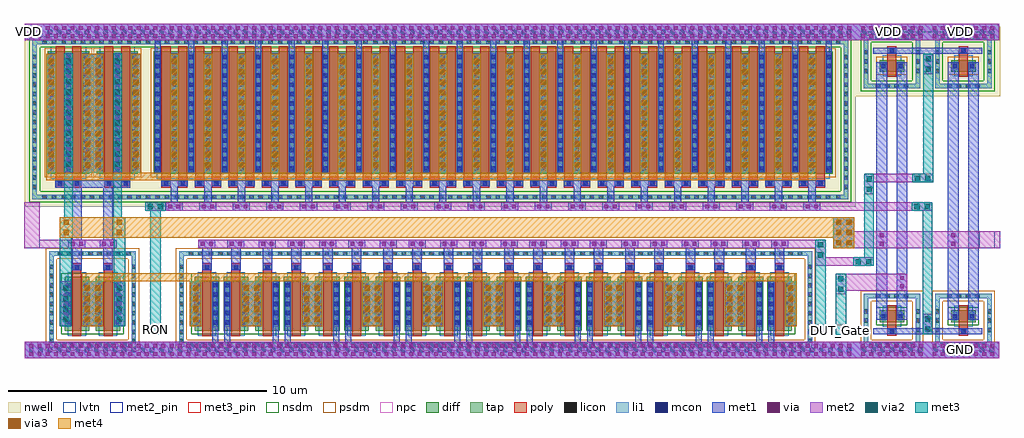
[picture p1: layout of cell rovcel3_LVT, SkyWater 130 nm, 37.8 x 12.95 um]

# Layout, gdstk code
from math import pi, radians
import gdstk
lib = gdstk.Library(unit=1e-6, precision=1e-09)
def R(c, l, rs):  # rectangles x0, y0, x1, y1
    for r in rs: c.add(gdstk.rectangle(r[:2], r[2:], *l))
def A(c, l, x, y, w, h, nx, ny, dx, dy):  # array of equal rectangles
    R(c, l, [(x+i*dx, y+j*dy, x+i*dx+w, y+j*dy+h) for i in range(nx) for j in range(ny)])
def P(c, l, *ps):  # polygons
    for p in ps: c.add(gdstk.Polygon(p, *l))
nwell = (64, 20)
diff = (65, 20)
tap = (65, 44)
poly = (66, 20)
licon = (66, 44)
li1 = (67, 20)
mcon = (67, 44)
met1 = (68, 20)
via = (68, 44)
met2_pin = (69, 16)
met2 = (69, 20)
via2 = (69, 44)
met3_pin = (70, 16)
met3 = (70, 20)
via3 = (70, 44)
met4 = (71, 20)
nsdm = (93, 44)
psdm = (94, 20)
npc = (95, 20)
lvtn = (125, 44)

vias_gen_38 = lib.new_cell('vias_gen$38')
R(vias_gen_38, li1, [(0,0,32.205,0.64)])
A(vias_gen_38, mcon, 0.175, 0.235, 0.17, 0.17, 89, 1, 0.36, 0)
R(vias_gen_38, met1, [(0,0,32.205,0.64)])
A(vias_gen_38, via, 0.185, 0.085, 0.15, 0.15, 100, 2, 0.32, 0.32)
R(vias_gen_38, met2, [(0,0,32.205,0.64)])

pfet_4_1 = lib.new_cell('pfet$4$1')
R(pfet_4_1, nwell, [(-0.305,-0.72,1.255,5.13)])
R(pfet_4_1, diff, [(0,0,0.95,4.75)])
R(pfet_4_1, poly, [(0.3,-0.53,0.65,-0.2), (0.3,-0.2,0.65,4.95)])
A(pfet_4_1, licon, 0.065, 0.13, 0.17, 0.17, 1, 13, 0, 0.36)
A(pfet_4_1, licon, 0.715, 0.13, 0.17, 0.17, 1, 13, 0, 0.36)
R(pfet_4_1, licon, [(0.39,-0.45,0.56,-0.28)])
R(pfet_4_1, li1, [(0.31,-0.45,0.64,-0.28), (0.065,0.05,0.235,4.7), (0.715,0.05,0.885,4.7)])
A(pfet_4_1, mcon, 0.065, 0.13, 0.17, 0.17, 1, 13, 0, 0.36)
A(pfet_4_1, mcon, 0.715, 0.13, 0.17, 0.17, 1, 13, 0, 0.36)
R(pfet_4_1, mcon, [(0.39,-0.45,0.56,-0.28)])
R(pfet_4_1, met1, [(0.29,-0.48,0.66,-0.25), (0.035,0.07,0.265,4.68), (0.685,0.07,0.915,4.68)])
R(pfet_4_1, psdm, [(-0.125,-0.125,1.075,4.875)])
R(pfet_4_1, npc, [(0.29,-0.54,0.66,-0.19)])
R(pfet_4_1, lvtn, [(0.12,-0.18,0.83,4.93)])

vias_gen_32 = lib.new_cell('vias_gen$32')
R(vias_gen_32, met1, [(0,0,0.66,0.42)])
R(vias_gen_32, via, [(0.095,0.135,0.245,0.285), (0.415,0.135,0.565,0.285)])
R(vias_gen_32, met2, [(0,0,0.66,0.42)])

vias_gen_41 = lib.new_cell('vias_gen$41')
R(vias_gen_41, met2, [(0,0,0.8,1.2)])
A(vias_gen_41, via2, 0.1, 0.1, 0.2, 0.2, 1, 3, 0, 0.4)
A(vias_gen_41, via2, 0.5, 0.1, 0.2, 0.2, 1, 3, 0, 0.4)
R(vias_gen_41, met3, [(0,0,0.8,1.2)])
A(vias_gen_41, via3, 0.1, 0.1, 0.2, 0.2, 1, 3, 0, 0.4)
A(vias_gen_41, via3, 0.5, 0.1, 0.2, 0.2, 1, 3, 0, 0.4)
R(vias_gen_41, met4, [(0,0,0.8,1.2)])

vias_gen_28_1 = lib.new_cell('vias_gen$28$1')
R(vias_gen_28_1, met1, [(0,0,1.73,0.8)])
A(vias_gen_28_1, via, 0.15, 0.165, 0.15, 0.15, 5, 2, 0.32, 0.32)
R(vias_gen_28_1, met2, [(0,0,1.73,0.8)])
A(vias_gen_28_1, via2, 0.165, 0.1, 0.2, 0.2, 4, 2, 0.4, 0.4)
R(vias_gen_28_1, met3, [(0,0,1.73,0.8)])
A(vias_gen_28_1, via3, 0.165, 0.1, 0.2, 0.2, 4, 2, 0.4, 0.4)
R(vias_gen_28_1, met4, [(0,0,1.73,0.8)])

nfet_5 = lib.new_cell('nfet$5')
R(nfet_5, diff, [(0,0,0.95,2.1)])
R(nfet_5, poly, [(0.3,-0.2,0.65,2.3), (0.3,2.3,0.65,2.63)])
A(nfet_5, licon, 0.065, 0.245, 0.17, 0.17, 1, 5, 0, 0.36)
A(nfet_5, licon, 0.715, 0.245, 0.17, 0.17, 1, 5, 0, 0.36)
R(nfet_5, licon, [(0.39,2.38,0.56,2.55)])
R(nfet_5, li1, [(0.065,0.165,0.235,1.935), (0.715,0.165,0.885,1.935), (0.31,2.38,0.64,2.55)])
A(nfet_5, mcon, 0.065, 0.245, 0.17, 0.17, 1, 5, 0, 0.36)
A(nfet_5, mcon, 0.715, 0.245, 0.17, 0.17, 1, 5, 0, 0.36)
R(nfet_5, mcon, [(0.39,2.38,0.56,2.55)])
R(nfet_5, met1, [(0.035,0.185,0.265,1.915), (0.685,0.185,0.915,1.915), (0.29,2.35,0.66,2.58)])
R(nfet_5, nsdm, [(-0.125,-0.125,1.075,2.225)])
R(nfet_5, npc, [(0.29,2.29,0.66,2.64)])
R(nfet_5, lvtn, [(0.12,-0.18,0.83,2.28)])

vias_gen_22_1 = lib.new_cell('vias_gen$22$1')
R(vias_gen_22_1, met1, [(0,0,4.61,0.33)])
A(vias_gen_22_1, via, 0.15, 0.09, 0.15, 0.15, 14, 1, 0.32, 0)
R(vias_gen_22_1, met2, [(0,0,4.61,0.33)])
A(vias_gen_22_1, via2, 0.205, 0.065, 0.2, 0.2, 11, 1, 0.4, 0)
R(vias_gen_22_1, met3, [(0,0,4.61,0.33)])
A(vias_gen_22_1, via3, 0.205, 0.065, 0.2, 0.2, 11, 1, 0.4, 0)
R(vias_gen_22_1, met4, [(0,0,4.61,0.33)])

vias_gen_33_1 = lib.new_cell('vias_gen$33$1')
R(vias_gen_33_1, met1, [(0,0,0.66,0.33)])
R(vias_gen_33_1, via, [(0.095,0.09,0.245,0.24), (0.415,0.09,0.565,0.24)])
R(vias_gen_33_1, met2, [(0,0,0.66,0.33)])

vias_gen_39 = lib.new_cell('vias_gen$39')
R(vias_gen_39, met1, [(0,0,0.37,0.8)])
R(vias_gen_39, via, [(0.11,0.165,0.26,0.315), (0.11,0.485,0.26,0.635)])
R(vias_gen_39, met2, [(0,0,0.37,0.8)])
R(vias_gen_39, via2, [(0.085,0.1,0.285,0.3), (0.085,0.5,0.285,0.7)])
R(vias_gen_39, met3, [(0,0,0.37,0.8)])

vias_gen_36_1 = lib.new_cell('vias_gen$36$1')
R(vias_gen_36_1, met2, [(0,0,0.8,0.33)])
R(vias_gen_36_1, via2, [(0.1,0.065,0.3,0.265), (0.5,0.065,0.7,0.265)])
R(vias_gen_36_1, met3, [(0,0,0.8,0.33)])

vias_gen_40 = lib.new_cell('vias_gen$40')
R(vias_gen_40, met2, [(0,0,0.37,0.8)])
R(vias_gen_40, via2, [(0.085,0.1,0.285,0.3), (0.085,0.5,0.285,0.7)])
R(vias_gen_40, met3, [(0,0,0.37,0.8)])

vias_gen_24 = lib.new_cell('vias_gen$24')
R(vias_gen_24, met1, [(0,0,0.38,4.61)])
A(vias_gen_24, via, 0.115, 0.15, 0.15, 0.15, 1, 14, 0, 0.32)
R(vias_gen_24, met2, [(0,0,0.38,4.61)])
A(vias_gen_24, via2, 0.09, 0.205, 0.2, 0.2, 1, 11, 0, 0.4)
R(vias_gen_24, met3, [(0,0,0.38,4.61)])
A(vias_gen_24, via3, 0.09, 0.205, 0.2, 0.2, 1, 11, 0, 0.4)
R(vias_gen_24, met4, [(0,0,0.38,4.61)])

vias_gen_34_1 = lib.new_cell('vias_gen$34$1')
R(vias_gen_34_1, met3, [(0,0,0.5,0.8)])
R(vias_gen_34_1, via3, [(0.15,0.1,0.35,0.3), (0.15,0.5,0.35,0.7)])
R(vias_gen_34_1, met4, [(0,0,0.5,0.8)])

vias_gen_23 = lib.new_cell('vias_gen$23')

vias_gen_16_1 = lib.new_cell('vias_gen$16$1')
R(vias_gen_16_1, met1, [(0,0,4.61,0.33)])
A(vias_gen_16_1, via, 0.15, 0.09, 0.15, 0.15, 14, 1, 0.32, 0)
R(vias_gen_16_1, met2, [(0,0,4.61,0.33)])
A(vias_gen_16_1, via2, 0.205, 0.065, 0.2, 0.2, 11, 1, 0.4, 0)
R(vias_gen_16_1, met3, [(0,0,4.61,0.33)])

vias_gen_31_1 = lib.new_cell('vias_gen$31$1')
R(vias_gen_31_1, met3, [(0,0,0.47,0.8)])
R(vias_gen_31_1, via3, [(0.135,0.1,0.335,0.3), (0.135,0.5,0.335,0.7)])
R(vias_gen_31_1, met4, [(0,0,0.47,0.8)])

vias_gen_23_1 = lib.new_cell('vias_gen$23$1')
R(vias_gen_23_1, met1, [(0,0,0.82,4.61)])
A(vias_gen_23_1, via, 0.175, 0.15, 0.15, 0.15, 1, 14, 0, 0.32)
A(vias_gen_23_1, via, 0.495, 0.15, 0.15, 0.15, 1, 14, 0, 0.32)
R(vias_gen_23_1, met2, [(0,0,0.82,4.61)])
A(vias_gen_23_1, via2, 0.11, 0.205, 0.2, 0.2, 1, 11, 0, 0.4)
A(vias_gen_23_1, via2, 0.51, 0.205, 0.2, 0.2, 1, 11, 0, 0.4)
R(vias_gen_23_1, met3, [(0,0,0.82,4.61)])
A(vias_gen_23_1, via3, 0.11, 0.205, 0.2, 0.2, 1, 11, 0, 0.4)
A(vias_gen_23_1, via3, 0.51, 0.205, 0.2, 0.2, 1, 11, 0, 0.4)
R(vias_gen_23_1, met4, [(0,0,0.82,4.61)])

vias_gen_7_1 = lib.new_cell('vias_gen$7$1')

vias_gen_6_1 = lib.new_cell('vias_gen$6$1')

pfet_2_1 = lib.new_cell('pfet$2$1')

vias_gen_2_1 = lib.new_cell('vias_gen$2$1')

vias_gen_10_1 = lib.new_cell('vias_gen$10$1')

vias_gen_12_1 = lib.new_cell('vias_gen$12$1')
R(vias_gen_12_1, met1, [(0,0,1.73,0.45)])
A(vias_gen_12_1, via, 0.15, 0.15, 0.15, 0.15, 5, 1, 0.32, 0)
R(vias_gen_12_1, met2, [(0,0,1.73,0.45)])
A(vias_gen_12_1, via2, 0.165, 0.125, 0.2, 0.2, 4, 1, 0.4, 0)
R(vias_gen_12_1, met3, [(0,0,1.73,0.45)])

vias_gen_30_1 = lib.new_cell('vias_gen$30$1')
R(vias_gen_30_1, met1, [(0,0,0.82,1.73)])
A(vias_gen_30_1, via, 0.175, 0.15, 0.15, 0.15, 1, 5, 0, 0.32)
A(vias_gen_30_1, via, 0.495, 0.15, 0.15, 0.15, 1, 5, 0, 0.32)
R(vias_gen_30_1, met2, [(0,0,0.82,1.73)])
A(vias_gen_30_1, via2, 0.11, 0.165, 0.2, 0.2, 1, 4, 0, 0.4)
A(vias_gen_30_1, via2, 0.51, 0.165, 0.2, 0.2, 1, 4, 0, 0.4)
R(vias_gen_30_1, met3, [(0,0,0.82,1.73)])
A(vias_gen_30_1, via3, 0.11, 0.165, 0.2, 0.2, 1, 4, 0, 0.4)
A(vias_gen_30_1, via3, 0.51, 0.165, 0.2, 0.2, 1, 4, 0, 0.4)
R(vias_gen_30_1, met4, [(0,0,0.82,1.73)])

vias_gen_27_1 = lib.new_cell('vias_gen$27$1')
R(vias_gen_27_1, met1, [(0,0,1.73,0.45)])
A(vias_gen_27_1, via, 0.15, 0.15, 0.15, 0.15, 5, 1, 0.32, 0)
R(vias_gen_27_1, met2, [(0,0,1.73,0.45)])
A(vias_gen_27_1, via2, 0.165, 0.125, 0.2, 0.2, 4, 1, 0.4, 0)
R(vias_gen_27_1, met3, [(0,0,1.73,0.45)])
A(vias_gen_27_1, via3, 0.165, 0.125, 0.2, 0.2, 4, 1, 0.4, 0)
R(vias_gen_27_1, met4, [(0,0,1.73,0.45)])

nfet_2_1 = lib.new_cell('nfet$2$1')

vias_gen_37_1 = lib.new_cell('vias_gen$37$1')
R(vias_gen_37_1, met2, [(0,0,0.4,0.8)])
R(vias_gen_37_1, via2, [(0.1,0.1,0.3,0.3), (0.1,0.5,0.3,0.7)])
R(vias_gen_37_1, met3, [(0,0,0.4,0.8)])

rovcel3_lvt = lib.new_cell('rovcel3_LVT')
R(rovcel3_lvt, nwell, [(-23.85,4.965,8.355,11.745), (8.355,9.255,11.145,11.935), (11.145,9.255,13.935,11.935)])
R(rovcel3_lvt, diff, [(9.275,0.505,10.225,0.955), (12.045,0.505,12.995,0.955), (9.275,10.2,10.225,10.65), (12.045,10.2,12.995,10.65)])
R(rovcel3_lvt, tap, [(-22.895,-0.475,-22.725,3.245), (-22.725,-0.475,-19.705,-0.305), (-19.705,-0.475,-19.535,3.245), (-17.86,-0.475,-17.69,3.245), (-17.69,-0.475,6.49,-0.305), (6.49,-0.475,6.66,3.245), (-22.725,3.075,-19.705,3.245), (-17.69,3.075,6.49,3.245), (-23.545,5.27,8.055,5.44), (-23.375,5.27,-19.495,5.44), (7.885,5.27,8.055,11.27), (-23.545,5.275,-23.375,11.275), (-23.545,11.27,8.055,11.44)])
P(rovcel3_lvt, tap, [(8.66,9.56),(8.66,11.46),(8.83,11.46),(8.83,9.73),(10.67,9.73),(10.67,11.46),(8.66,11.46),(8.66,11.63),(10.84,11.63),(10.84,9.56)],
  [(11.43,9.56),(11.43,11.46),(11.6,11.46),(11.6,9.73),(13.44,9.73),(13.44,11.46),(11.43,11.46),(11.43,11.63),(13.61,11.63),(13.61,9.56)],
  [(8.66,-0.475),(8.66,1.425),(8.83,1.425),(8.83,-0.305),(10.67,-0.305),(10.67,1.425),(8.66,1.425),(8.66,1.595),(10.84,1.595),(10.84,-0.475)],
  [(11.43,-0.475),(11.43,1.425),(11.6,1.425),(11.6,-0.305),(13.44,-0.305),(13.44,1.425),(11.43,1.425),(11.43,1.595),(13.61,1.595),(13.61,-0.475)])
R(rovcel3_lvt, poly, [(9.575,-0.025,9.925,0.305), (12.345,-0.025,12.695,0.305), (9.575,0.305,9.925,1.155), (12.345,0.305,12.695,1.155), (9.575,10,9.925,10.85), (12.345,10,12.695,10.85), (9.575,10.85,9.925,11.18), (12.345,10.85,12.695,11.18)])
A(rovcel3_lvt, licon, -22.465, -0.475, 0.17, 0.17, 5, 1, 0.36, 0)
A(rovcel3_lvt, licon, -16.71, -0.475, 0.17, 0.17, 3, 2, 0.36, 3.55)
A(rovcel3_lvt, licon, -14.03, -0.475, 0.17, 0.17, 8, 2, 0.36, 3.55)
A(rovcel3_lvt, licon, -10.725, -0.475, 0.17, 0.17, 3, 2, 0.38, 3.55)
A(rovcel3_lvt, licon, -9.605, -0.475, 0.17, 0.17, 9, 2, 0.36, 3.55)
A(rovcel3_lvt, licon, -5.965, -0.475, 0.17, 0.17, 8, 2, 0.36, 3.55)
A(rovcel3_lvt, licon, -3.045, -0.475, 0.17, 0.17, 6, 2, 0.36, 3.55)
A(rovcel3_lvt, licon, -0.46, -0.475, 0.17, 0.17, 3, 2, 0.38, 3.55)
A(rovcel3_lvt, licon, 0.66, -0.475, 0.17, 0.17, 9, 2, 0.36, 3.55)
A(rovcel3_lvt, licon, 4.3, -0.475, 0.17, 0.17, 6, 2, 0.36, 3.55)
A(rovcel3_lvt, licon, 9.125, -0.475, 0.17, 0.17, 4, 2, 0.36, 1.9)
A(rovcel3_lvt, licon, 11.895, -0.475, 0.17, 0.17, 4, 2, 0.36, 1.9)
A(rovcel3_lvt, licon, -22.895, 0.04, 0.17, 0.17, 1, 8, 0, 0.36)
A(rovcel3_lvt, licon, -19.705, 0.04, 0.17, 0.17, 1, 8, 0, 0.36)
A(rovcel3_lvt, licon, -17.86, 0.04, 0.17, 0.17, 1, 8, 0, 0.36)
A(rovcel3_lvt, licon, 6.49, 0.04, 0.17, 0.17, 1, 8, 0, 0.36)
A(rovcel3_lvt, licon, 8.66, 0.115, 0.17, 0.17, 1, 3, 0, 0.36)
A(rovcel3_lvt, licon, 10.67, 0.115, 0.17, 0.17, 1, 3, 0, 0.36)
A(rovcel3_lvt, licon, 11.43, 0.115, 0.17, 0.17, 1, 3, 0, 0.36)
A(rovcel3_lvt, licon, 13.44, 0.115, 0.17, 0.17, 1, 3, 0, 0.36)
A(rovcel3_lvt, licon, -21.745, 3.075, 0.17, 0.17, 3, 1, 0.36, 0)
A(rovcel3_lvt, licon, -21.675, 5.27, 0.17, 0.17, 7, 2, 0.36, 6)
A(rovcel3_lvt, licon, -18.79, 5.27, 0.17, 0.17, 3, 2, 0.38, 6)
A(rovcel3_lvt, licon, -17.67, 5.27, 0.17, 0.17, 9, 2, 0.36, 6)
A(rovcel3_lvt, licon, -14.03, 5.27, 0.17, 0.17, 8, 2, 0.36, 6)
A(rovcel3_lvt, licon, -10.725, 5.27, 0.17, 0.17, 3, 2, 0.38, 6)
A(rovcel3_lvt, licon, -9.605, 5.27, 0.17, 0.17, 9, 2, 0.36, 6)
A(rovcel3_lvt, licon, -5.965, 5.27, 0.17, 0.17, 8, 2, 0.36, 6)
A(rovcel3_lvt, licon, -3.045, 5.27, 0.17, 0.17, 6, 2, 0.36, 6)
A(rovcel3_lvt, licon, -0.46, 5.27, 0.17, 0.17, 3, 2, 0.38, 6)
A(rovcel3_lvt, licon, 0.66, 5.27, 0.17, 0.17, 9, 2, 0.36, 6)
A(rovcel3_lvt, licon, 4.3, 5.27, 0.17, 0.17, 8, 2, 0.36, 6)
A(rovcel3_lvt, licon, 7.885, 5.65, 0.17, 0.17, 1, 15, 0, 0.36)
A(rovcel3_lvt, licon, -23.545, 5.655, 0.17, 0.17, 1, 15, 0, 0.36)
A(rovcel3_lvt, licon, 9.125, 9.56, 0.17, 0.17, 4, 2, 0.36, 1.9)
A(rovcel3_lvt, licon, 11.895, 9.56, 0.17, 0.17, 4, 2, 0.36, 1.9)
A(rovcel3_lvt, licon, 8.66, 10.15, 0.17, 0.17, 1, 3, 0, 0.36)
A(rovcel3_lvt, licon, 10.67, 10.15, 0.17, 0.17, 1, 3, 0, 0.36)
A(rovcel3_lvt, licon, 11.43, 10.15, 0.17, 0.17, 1, 3, 0, 0.36)
A(rovcel3_lvt, licon, 13.44, 10.15, 0.17, 0.17, 1, 3, 0, 0.36)
A(rovcel3_lvt, licon, -22.795, 11.27, 0.17, 0.17, 3, 1, 0.38, 0)
R(rovcel3_lvt, licon, [(-20.665,-0.48,-20.495,-0.31), (-15.63,-0.48,-15.46,-0.31), (-20.055,-0.475,-19.885,-0.305), (-17.42,-0.475,-17.25,-0.305), (-17.06,-0.475,-16.89,-0.305), (-15.28,-0.475,-15.11,-0.305), (-14.935,-0.475,-14.765,-0.305), (-14.41,-0.475,-14.24,-0.305), (-11.085,-0.475,-10.915,-0.305), (-6.345,-0.475,-6.175,-0.305), (-0.82,-0.475,-0.65,-0.305), (3.92,-0.475,4.09,-0.305), (-22.895,-0.305,-22.725,-0.135), (-19.705,-0.305,-19.535,-0.135), (-17.86,-0.305,-17.69,-0.135), (6.49,-0.305,6.66,-0.135), (9.665,0.055,9.835,0.225), (12.435,0.055,12.605,0.225), (9.34,0.645,9.51,0.815), (9.99,0.645,10.16,0.815), (12.11,0.645,12.28,0.815), (12.76,0.645,12.93,0.815), (-20.665,3.07,-20.495,3.24), (-15.63,3.07,-15.46,3.24), (-22.56,3.075,-22.39,3.245), (-22.2,3.075,-22.03,3.245), (-20.315,3.075,-20.145,3.245), (-19.905,3.075,-19.735,3.245), (-17.48,3.075,-17.31,3.245), (-17.12,3.075,-16.95,3.245), (-15.28,3.075,-15.11,3.245), (-14.875,3.075,-14.705,3.245), (-14.41,3.075,-14.24,3.245), (-11.085,3.075,-10.915,3.245), (-6.345,3.075,-6.175,3.245), (-0.82,3.075,-0.65,3.245), (3.92,3.075,4.09,3.245), (-23.155,5.27,-22.985,5.44), (-22.795,5.27,-22.625,5.44), (-22.4,5.27,-22.23,5.44), (-22.4,5.27,-22.23,5.44), (-22.055,5.27,-21.885,5.44), (-19.15,5.27,-18.98,5.44), (-14.41,5.27,-14.24,5.44), (-11.085,5.27,-10.915,5.44), (-6.345,5.27,-6.175,5.44), (-0.82,5.27,-0.65,5.44), (3.92,5.27,4.09,5.44), (7.19,5.27,7.36,5.44), (7.585,5.27,7.755,5.44), (9.34,10.34,9.51,10.51), (9.99,10.34,10.16,10.51), (12.11,10.34,12.28,10.51), (12.76,10.34,12.93,10.51), (9.665,10.93,9.835,11.1), (12.435,10.93,12.605,11.1), (-23.155,11.27,-22.985,11.44), (-19.15,11.27,-18.98,11.44), (-14.41,11.27,-14.24,11.44), (-11.085,11.27,-10.915,11.44), (-6.345,11.27,-6.175,11.44), (-0.82,11.27,-0.65,11.44), (3.92,11.27,4.09,11.44), (7.19,11.27,7.36,11.44), (7.585,11.27,7.755,11.44)])
R(rovcel3_lvt, li1, [(8.355,-0.895,11.145,-0.255), (11.125,-0.895,13.915,-0.255), (-22.895,-0.475,-22.725,3.245), (-22.725,-0.475,-19.705,-0.305), (-19.705,-0.475,-19.535,3.245), (-17.86,-0.475,-17.69,3.245), (-17.69,-0.475,6.49,-0.305), (6.49,-0.475,6.66,3.245), (9.585,0.055,9.915,0.225), (12.355,0.055,12.685,0.225), (9.34,0.565,9.51,0.895), (9.99,0.565,10.16,0.895), (12.11,0.565,12.28,0.895), (12.76,0.565,12.93,0.895), (-22.725,3.075,-19.705,3.245), (-17.69,3.075,6.49,3.245), (-23.545,5.27,8.055,5.44), (7.885,5.27,8.055,11.27), (-23.545,5.275,-23.375,11.275), (9.34,10.26,9.51,10.59), (9.99,10.26,10.16,10.59), (12.11,10.26,12.28,10.59), (12.76,10.26,12.93,10.59), (9.585,10.93,9.915,11.1), (12.355,10.93,12.685,11.1), (-23.545,11.27,8.055,11.44), (8.355,11.415,11.145,12.055), (11.125,11.415,13.915,12.055)])
P(rovcel3_lvt, li1, [(8.66,9.56),(8.66,11.46),(8.83,11.46),(8.83,9.73),(10.67,9.73),(10.67,11.46),(8.66,11.46),(8.66,11.63),(10.84,11.63),(10.84,9.56)],
  [(11.43,9.56),(11.43,11.46),(11.6,11.46),(11.6,9.73),(13.44,9.73),(13.44,11.46),(11.43,11.46),(11.43,11.63),(13.61,11.63),(13.61,9.56)],
  [(8.66,-0.475),(8.66,1.425),(8.83,1.425),(8.83,-0.305),(10.67,-0.305),(10.67,1.425),(8.66,1.425),(8.66,1.595),(10.84,1.595),(10.84,-0.475)],
  [(11.43,-0.475),(11.43,1.425),(11.6,1.425),(11.6,-0.305),(13.44,-0.305),(13.44,1.425),(11.43,1.425),(11.43,1.595),(13.61,1.595),(13.61,-0.475)])
A(rovcel3_lvt, mcon, 8.585, -0.66, 0.17, 0.17, 7, 2, 0.36, 12.31)
A(rovcel3_lvt, mcon, 11.355, -0.66, 0.17, 0.17, 7, 2, 0.36, 12.31)
R(rovcel3_lvt, mcon, [(9.665,0.055,9.835,0.225), (12.435,0.055,12.605,0.225), (9.34,0.645,9.51,0.815), (9.99,0.645,10.16,0.815), (12.11,0.645,12.28,0.815), (12.76,0.645,12.93,0.815), (9.34,10.34,9.51,10.51), (9.99,10.34,10.16,10.51), (12.11,10.34,12.28,10.51), (12.76,10.34,12.93,10.51), (9.665,10.93,9.835,11.1), (12.435,10.93,12.605,11.1)])
A(rovcel3_lvt, met1, -18.185, 5.145, 0.28, 0.845, 20, 1, 1.3, 0)
A(rovcel3_lvt, met1, -18.81, 10.92, 0.23, 0.495, 21, 1, 1.3, 0)
R(rovcel3_lvt, met1, [(8.355,-0.895,11.145,-0.255), (11.125,-0.895,13.915,-0.255), (-16.575,-0.255,-16.345,0.345), (-16.105,-0.255,-15.875,0.345), (-14.235,-0.255,-14.005,0.345), (-13.765,-0.255,-13.535,0.345), (-11.895,-0.255,-11.665,0.345), (-11.425,-0.255,-11.195,0.345), (-9.555,-0.255,-9.325,0.345), (-9.085,-0.255,-8.855,0.345), (-7.21,-0.255,-6.98,0.345), (-6.74,-0.255,-6.51,0.345), (-4.87,-0.255,-4.64,0.345), (-4.4,-0.255,-4.17,0.345), (-2.53,-0.255,-2.3,0.345), (-2.06,-0.255,-1.83,0.345), (-0.19,-0.255,0.04,0.345), (0.28,-0.255,0.51,0.345), (2.15,-0.255,2.38,0.345), (2.62,-0.255,2.85,0.345), (4.49,-0.255,4.72,0.345), (4.96,-0.255,5.19,0.345), (9.025,0.025,10.475,0.255), (9.565,0.025,9.935,0.255), (10.475,0.025,11.795,0.255), (11.795,0.025,13.245,0.255), (12.335,0.025,12.705,0.255), (9.15,0.585,9.57,10.57), (9.28,0.585,9.57,0.875), (9.93,0.585,10.35,10.57), (9.93,0.585,10.22,0.875), (11.92,0.585,12.34,10.57), (12.05,0.585,12.34,0.875), (12.7,0.585,13.12,10.57), (12.7,0.585,12.99,0.875), (-22.005,2.74,-21.635,3.37), (-20.795,2.74,-20.425,3.37), (-16.97,2.74,-16.6,3.7), (-15.85,2.74,-15.48,3.7), (-14.63,2.74,-14.26,3.7), (-13.51,2.74,-13.14,3.7), (-12.29,2.74,-11.92,3.7), (-11.17,2.74,-10.8,3.7), (-9.95,2.74,-9.58,3.7), (-8.83,2.74,-8.46,3.7), (-7.605,2.74,-7.235,3.7), (-6.485,2.74,-6.115,3.7), (-5.265,2.74,-4.895,3.7), (-4.145,2.74,-3.775,3.7), (-2.925,2.74,-2.555,3.7), (-1.805,2.74,-1.435,3.7), (-0.585,2.74,-0.215,3.7), (0.535,2.74,0.905,3.7), (1.755,2.74,2.125,3.7), (2.875,2.74,3.245,3.7), (4.095,2.74,4.465,3.7), (5.215,2.74,5.585,3.7), (-22.005,3.7,-21.635,5.99), (-20.795,3.7,-20.425,5.99), (-22.655,5.7,-19.745,5.99), (9.28,10.28,9.57,10.57), (9.93,10.28,10.22,10.57), (12.05,10.28,12.34,10.57), (12.7,10.28,12.99,10.57), (9.025,10.9,10.475,11.13), (9.565,10.9,9.935,11.13), (10.475,10.9,11.795,11.13), (11.795,10.9,13.245,11.13), (12.335,10.9,12.705,11.13), (8.355,11.415,11.145,12.055), (11.125,11.415,13.915,12.055)])
A(rovcel3_lvt, via, 8.555, -0.81, 0.15, 0.15, 8, 2, 0.32, 0.32)
A(rovcel3_lvt, via, 11.325, -0.81, 0.15, 0.15, 8, 2, 0.32, 0.32)
A(rovcel3_lvt, via, 8.555, 11.5, 0.15, 0.15, 8, 2, 0.32, 0.32)
A(rovcel3_lvt, via, 11.325, 11.5, 0.15, 0.15, 8, 2, 0.32, 0.32)
R(rovcel3_lvt, met2_pin, [(-23.85,-0.895,8.355,-0.255), (8.355,-0.895,11.145,-0.255), (11.125,-0.895,13.915,-0.255), (-23.87,3.37,-23.26,5.15), (13.14,3.37,13.73,4.03), (-23.85,11.415,8.355,12.055), (8.355,11.415,11.145,12.055), (11.125,11.415,13.915,12.055)])
R(rovcel3_lvt, met2, [(8.355,-0.895,11.145,-0.255), (11.125,-0.895,13.915,-0.255), (7.97,1.72,9.93,2.38), (6.785,2.68,9.05,3.01), (-23.87,3.37,-20.28,3.7), (-17.115,3.37,7.185,3.7), (8.285,3.37,13.935,4.03), (-23.87,3.7,-23.26,5.15), (-18.38,4.815,10.52,5.145), (9.05,5.915,10.54,6.245), (8.355,11.415,11.145,12.055), (11.125,11.415,13.915,12.055)])
R(rovcel3_lvt, met3_pin, [(-18.98,0.005,-18.58,0.405), (-18.98,0.005,-18.58,0.405), (6.785,0.005,7.185,0.405), (7.57,0.005,7.97,0.405)])
R(rovcel3_lvt, met3, [(-18.98,0.005,-18.58,4.815), (6.785,0.005,7.185,2.9), (7.57,0.005,7.97,1.65), (10.95,0.685,11.32,2.99), (10.95,0.685,11.32,4.815), (-22.48,2.075,-22.03,3.77), (-20.4,2.075,-19.95,3.77), (8.68,2.68,9.05,5.445), (-22.31,4.57,-21.98,6.31), (-20.42,4.57,-20.09,6.31), (10.97,6.245,11.34,10.24)])
R(rovcel3_lvt, met4, [(-21.625,2.075,6.06,2.395), (-21.98,3.77,7.485,4.57), (-23.01,5.99,6.82,6.29)])
R(rovcel3_lvt, nsdm, [(9.15,0.38,10.35,1.08), (11.92,0.38,13.12,1.08), (-23.67,5.145,8.18,5.565), (-23.25,5.145,8.18,5.565), (-23.67,5.565,-23.25,11.145), (7.76,5.565,8.18,11.145), (10.965,9.435,11.305,11.755), (-23.67,11.145,8.18,11.565)])
P(rovcel3_lvt, nsdm, [(8.535,9.435),(8.535,11.335),(8.955,11.335),(8.955,9.855),(10.545,9.855),(10.545,11.335),(8.535,11.335),(8.535,11.755),(10.965,11.755),(10.965,9.435)],
  [(11.305,9.435),(11.305,11.335),(11.725,11.335),(11.725,9.855),(13.315,9.855),(13.315,11.335),(11.305,11.335),(11.305,11.755),(13.735,11.755),(13.735,9.435)])
R(rovcel3_lvt, psdm, [(-23.02,-0.6,-22.6,3.37), (-22.6,-0.6,-19.83,-0.18), (-19.83,-0.6,-19.41,3.37), (-17.985,-0.6,-17.565,3.37), (-17.565,-0.6,6.365,-0.18), (6.365,-0.6,6.785,3.37), (-22.6,2.95,-19.83,3.37), (-17.565,2.95,6.365,3.37), (9.15,10.075,10.35,10.775), (11.92,10.075,13.12,10.775)])
P(rovcel3_lvt, psdm, [(8.535,-0.6),(8.535,1.3),(8.955,1.3),(8.955,-0.18),(10.545,-0.18),(10.545,1.3),(8.535,1.3),(8.535,1.72),(10.965,1.72),(10.965,-0.6)],
  [(11.305,-0.6),(11.305,1.3),(11.725,1.3),(11.725,-0.18),(13.315,-0.18),(13.315,1.3),(11.305,1.3),(11.305,1.72),(13.735,1.72),(13.735,-0.6)])
R(rovcel3_lvt, npc, [(9.565,-0.035,9.935,0.315), (12.335,-0.035,12.705,0.315), (9.565,10.84,9.935,11.19), (12.335,10.84,12.705,11.19)])
R(rovcel3_lvt, lvtn, [(9.395,0.325,10.105,1.135), (12.165,0.325,12.875,1.135), (9.395,10.02,10.105,10.83), (12.165,10.02,12.875,10.83)])
rovcel3_lvt.add(gdstk.Reference(vias_gen_38, (-23.85,-0.895)))
rovcel3_lvt.add(gdstk.Reference(pfet_4_1, (-5.845,6.24)))
rovcel3_lvt.add(gdstk.Reference(vias_gen_38, (-23.85,11.415)))
rovcel3_lvt.add(gdstk.Reference(vias_gen_32, (9.57,3.37), rotation=pi/2))
rovcel3_lvt.add(gdstk.Reference(vias_gen_32, (12.34,3.37), rotation=pi/2))
rovcel3_lvt.add(gdstk.Reference(vias_gen_41, (7.485,3.37)))
rovcel3_lvt.add(gdstk.Reference(pfet_4_1, (-6.495,6.24)))
rovcel3_lvt.add(gdstk.Reference(vias_gen_28_1, (-5.29,0.345), rotation=pi/2))
rovcel3_lvt.add(gdstk.Reference(nfet_5, (-5.825,0.16), rotation=pi, x_reflection=True))
rovcel3_lvt.add(gdstk.Reference(pfet_4_1, (1.955,6.24)))
rovcel3_lvt.add(gdstk.Reference(pfet_4_1, (2.605,6.24)))
rovcel3_lvt.add(gdstk.Reference(vias_gen_22_1, (1.62,6.29), rotation=pi/2))
rovcel3_lvt.add(gdstk.Reference(pfet_4_1, (1.305,6.24)))
rovcel3_lvt.add(gdstk.Reference(pfet_4_1, (0.655,6.24)))
rovcel3_lvt.add(gdstk.Reference(vias_gen_22_1, (0.32,6.29), rotation=pi/2))
rovcel3_lvt.add(gdstk.Reference(pfet_4_1, (-0.645,6.24)))
rovcel3_lvt.add(gdstk.Reference(pfet_4_1, (0.005,6.24)))
rovcel3_lvt.add(gdstk.Reference(vias_gen_22_1, (-0.98,6.29), rotation=pi/2))
rovcel3_lvt.add(gdstk.Reference(pfet_4_1, (-1.295,6.24)))
rovcel3_lvt.add(gdstk.Reference(pfet_4_1, (-1.945,6.24)))
rovcel3_lvt.add(gdstk.Reference(vias_gen_22_1, (-2.28,6.29), rotation=pi/2))
rovcel3_lvt.add(gdstk.Reference(pfet_4_1, (-3.245,6.24)))
rovcel3_lvt.add(gdstk.Reference(pfet_4_1, (-2.595,6.24)))
rovcel3_lvt.add(gdstk.Reference(vias_gen_22_1, (-3.58,6.29), rotation=pi/2))
rovcel3_lvt.add(gdstk.Reference(pfet_4_1, (-3.895,6.24)))
rovcel3_lvt.add(gdstk.Reference(pfet_4_1, (-4.545,6.24)))
rovcel3_lvt.add(gdstk.Reference(pfet_4_1, (6.505,6.24)))
rovcel3_lvt.add(gdstk.Reference(vias_gen_22_1, (6.82,6.29), rotation=pi/2))
rovcel3_lvt.add(gdstk.Reference(pfet_4_1, (5.855,6.24)))
rovcel3_lvt.add(gdstk.Reference(vias_gen_22_1, (5.52,6.29), rotation=pi/2))
rovcel3_lvt.add(gdstk.Reference(pfet_4_1, (4.555,6.24)))
rovcel3_lvt.add(gdstk.Reference(pfet_4_1, (5.205,6.24)))
rovcel3_lvt.add(gdstk.Reference(vias_gen_33_1, (-4.08,4.815)))
rovcel3_lvt.add(gdstk.Reference(vias_gen_33_1, (-2.78,4.815)))
rovcel3_lvt.add(gdstk.Reference(vias_gen_33_1, (-1.48,4.815)))
rovcel3_lvt.add(gdstk.Reference(vias_gen_33_1, (-0.18,4.815)))
rovcel3_lvt.add(gdstk.Reference(vias_gen_33_1, (1.12,4.815)))
rovcel3_lvt.add(gdstk.Reference(vias_gen_33_1, (2.42,4.815)))
rovcel3_lvt.add(gdstk.Reference(vias_gen_33_1, (3.72,4.815)))
rovcel3_lvt.add(gdstk.Reference(vias_gen_33_1, (5.02,4.815)))
rovcel3_lvt.add(gdstk.Reference(vias_gen_33_1, (6.32,4.815)))
rovcel3_lvt.add(gdstk.Reference(vias_gen_22_1, (4.22,6.29), rotation=pi/2))
rovcel3_lvt.add(gdstk.Reference(pfet_4_1, (3.905,6.24)))
rovcel3_lvt.add(gdstk.Reference(pfet_4_1, (3.255,6.24)))
rovcel3_lvt.add(gdstk.Reference(vias_gen_22_1, (2.92,6.29), rotation=pi/2))
rovcel3_lvt.add(gdstk.Reference(vias_gen_39, (10.97,10.9), x_reflection=True))
rovcel3_lvt.add(gdstk.Reference(pfet_4_1, (-5.195,6.24)))
rovcel3_lvt.add(gdstk.Reference(vias_gen_36_1, (10.52,4.815)))
rovcel3_lvt.add(gdstk.Reference(vias_gen_33_1, (-5.38,4.815)))
rovcel3_lvt.add(gdstk.Reference(vias_gen_22_1, (-4.88,6.29), rotation=pi/2))
rovcel3_lvt.add(gdstk.Reference(vias_gen_36_1, (10.54,6.245), x_reflection=True))
rovcel3_lvt.add(gdstk.Reference(vias_gen_40, (8.68,5.445)))
rovcel3_lvt.add(gdstk.Reference(vias_gen_22_1, (-12.68,6.29), rotation=pi/2))
rovcel3_lvt.add(gdstk.Reference(pfet_4_1, (-13.645,6.24)))
rovcel3_lvt.add(gdstk.Reference(pfet_4_1, (-12.995,6.24)))
rovcel3_lvt.add(gdstk.Reference(vias_gen_22_1, (-13.98,6.29), rotation=pi/2))
rovcel3_lvt.add(gdstk.Reference(pfet_4_1, (-14.295,6.24)))
rovcel3_lvt.add(gdstk.Reference(pfet_4_1, (-14.945,6.24)))
rovcel3_lvt.add(gdstk.Reference(vias_gen_22_1, (-15.28,6.29), rotation=pi/2))
rovcel3_lvt.add(gdstk.Reference(pfet_4_1, (-16.245,6.24)))
rovcel3_lvt.add(gdstk.Reference(pfet_4_1, (-15.595,6.24)))
rovcel3_lvt.add(gdstk.Reference(vias_gen_22_1, (-16.58,6.29), rotation=pi/2))
rovcel3_lvt.add(gdstk.Reference(vias_gen_22_1, (-17.88,6.29), rotation=pi/2))
rovcel3_lvt.add(gdstk.Reference(pfet_4_1, (-16.895,6.24)))
rovcel3_lvt.add(gdstk.Reference(pfet_4_1, (-17.545,6.24)))
rovcel3_lvt.add(gdstk.Reference(pfet_4_1, (-18.845,6.24)))
rovcel3_lvt.add(gdstk.Reference(pfet_4_1, (-18.195,6.24)))
rovcel3_lvt.add(gdstk.Reference(vias_gen_24, (-19.72,6.29)))
rovcel3_lvt.add(gdstk.Reference(vias_gen_34_1, (-22.48,3.77)))
rovcel3_lvt.add(gdstk.Reference(vias_gen_23, (-7.835,7.67)))
rovcel3_lvt.add(gdstk.Reference(vias_gen_16_1, (-21.98,6.31), rotation=pi/2))
rovcel3_lvt.add(gdstk.Reference(vias_gen_33_1, (-18.38,4.815)))
rovcel3_lvt.add(gdstk.Reference(vias_gen_33_1, (-17.08,4.815)))
rovcel3_lvt.add(gdstk.Reference(vias_gen_33_1, (-15.78,4.815)))
rovcel3_lvt.add(gdstk.Reference(vias_gen_33_1, (-14.48,4.815)))
rovcel3_lvt.add(gdstk.Reference(vias_gen_33_1, (-13.18,4.815)))
rovcel3_lvt.add(gdstk.Reference(vias_gen_33_1, (-11.88,4.815)))
rovcel3_lvt.add(gdstk.Reference(vias_gen_33_1, (-10.58,4.815)))
rovcel3_lvt.add(gdstk.Reference(vias_gen_33_1, (-9.28,4.815)))
rovcel3_lvt.add(gdstk.Reference(vias_gen_33_1, (-7.98,4.815)))
rovcel3_lvt.add(gdstk.Reference(vias_gen_33_1, (-6.68,4.815)))
rovcel3_lvt.add(gdstk.Reference(pfet_4_1, (-22.945,6.24)))
rovcel3_lvt.add(gdstk.Reference(vias_gen_16_1, (-20.09,6.31), rotation=pi/2))
rovcel3_lvt.add(gdstk.Reference(vias_gen_31_1, (-20.42,3.77)))
rovcel3_lvt.add(gdstk.Reference(pfet_4_1, (-22.295,6.24)))
rovcel3_lvt.add(gdstk.Reference(pfet_4_1, (-21.055,6.24)))
rovcel3_lvt.add(gdstk.Reference(pfet_4_1, (-20.405,6.24)))
rovcel3_lvt.add(gdstk.Reference(vias_gen_23_1, (-21.61,6.29)))
rovcel3_lvt.add(gdstk.Reference(vias_gen_24, (-23.01,6.29)))
rovcel3_lvt.add(gdstk.Reference(vias_gen_22_1, (-6.18,6.29), rotation=pi/2))
rovcel3_lvt.add(gdstk.Reference(pfet_4_1, (-11.045,6.24)))
rovcel3_lvt.add(gdstk.Reference(vias_gen_36_1, (-19.18,4.815)))
rovcel3_lvt.add(gdstk.Reference(pfet_4_1, (-7.145,6.24)))
rovcel3_lvt.add(gdstk.Reference(vias_gen_22_1, (-7.48,6.29), rotation=pi/2))
rovcel3_lvt.add(gdstk.Reference(pfet_4_1, (-8.445,6.24)))
rovcel3_lvt.add(gdstk.Reference(pfet_4_1, (-7.795,6.24)))
rovcel3_lvt.add(gdstk.Reference(vias_gen_22_1, (-8.78,6.29), rotation=pi/2))
rovcel3_lvt.add(gdstk.Reference(pfet_4_1, (-9.095,6.24)))
rovcel3_lvt.add(gdstk.Reference(pfet_4_1, (-9.745,6.24)))
rovcel3_lvt.add(gdstk.Reference(vias_gen_22_1, (-10.08,6.29), rotation=pi/2))
rovcel3_lvt.add(gdstk.Reference(pfet_4_1, (-10.395,6.24)))
rovcel3_lvt.add(gdstk.Reference(vias_gen_22_1, (-11.38,6.29), rotation=pi/2))
rovcel3_lvt.add(gdstk.Reference(pfet_4_1, (-11.695,6.24)))
rovcel3_lvt.add(gdstk.Reference(pfet_4_1, (-12.345,6.24)))
rovcel3_lvt.add(gdstk.Reference(vias_gen_33_1, (-15.995,3.37)))
rovcel3_lvt.add(gdstk.Reference(vias_gen_33_1, (-15.995,3.37)))
rovcel3_lvt.add(gdstk.Reference(vias_gen_33_1, (-14.775,3.37)))
rovcel3_lvt.add(gdstk.Reference(vias_gen_33_1, (-13.655,3.37)))
rovcel3_lvt.add(gdstk.Reference(vias_gen_33_1, (-12.435,3.37)))
rovcel3_lvt.add(gdstk.Reference(vias_gen_33_1, (-11.315,3.37)))
rovcel3_lvt.add(gdstk.Reference(vias_gen_33_1, (-10.095,3.37)))
rovcel3_lvt.add(gdstk.Reference(vias_gen_33_1, (-8.975,3.37)))
rovcel3_lvt.add(gdstk.Reference(vias_gen_33_1, (-7.75,3.37)))
rovcel3_lvt.add(gdstk.Reference(vias_gen_33_1, (-6.63,3.37)))
rovcel3_lvt.add(gdstk.Reference(vias_gen_33_1, (-22.15,3.37)))
rovcel3_lvt.add(gdstk.Reference(vias_gen_7_1, (-5.965,-3.4), rotation=pi/2))
rovcel3_lvt.add(gdstk.Reference(vias_gen_6_1, (-6.775,-0.34)))
rovcel3_lvt.add(gdstk.Reference(vias_gen_33_1, (-20.94,3.37)))
rovcel3_lvt.add(gdstk.Reference(vias_gen_6_1, (-5.87,-0.34)))
rovcel3_lvt.add(gdstk.Reference(vias_gen_23, (-7.845,-4.64)))
rovcel3_lvt.add(gdstk.Reference(pfet_2_1, (-6.27,2.495)))
rovcel3_lvt.add(gdstk.Reference(vias_gen_2_1, (-6.405,0.6)))
rovcel3_lvt.add(gdstk.Reference(vias_gen_10_1, (-5.955,2.565), rotation=pi/2))
rovcel3_lvt.add(gdstk.Reference(pfet_2_1, (-6.92,2.495)))
rovcel3_lvt.add(gdstk.Reference(vias_gen_12_1, (-22.03,0.345), rotation=pi/2))
rovcel3_lvt.add(gdstk.Reference(vias_gen_12_1, (-19.95,0.345), rotation=pi/2))
rovcel3_lvt.add(gdstk.Reference(nfet_5, (-20.135,0.16), rotation=pi, x_reflection=True))
rovcel3_lvt.add(gdstk.Reference(vias_gen_30_1, (-21.625,0.345)))
rovcel3_lvt.add(gdstk.Reference(nfet_5, (-15.19,0.16), rotation=pi, x_reflection=True))
rovcel3_lvt.add(gdstk.Reference(vias_gen_28_1, (-14.655,0.345), rotation=pi/2))
rovcel3_lvt.add(gdstk.Reference(nfet_5, (-6.945,0.16), rotation=pi, x_reflection=True))
rovcel3_lvt.add(gdstk.Reference(nfet_5, (-21.345,0.16), rotation=pi, x_reflection=True))
rovcel3_lvt.add(gdstk.Reference(nfet_5, (-9.29,0.16), rotation=pi, x_reflection=True))
rovcel3_lvt.add(gdstk.Reference(nfet_5, (-8.17,0.16), rotation=pi, x_reflection=True))
rovcel3_lvt.add(gdstk.Reference(vias_gen_28_1, (-7.635,0.345), rotation=pi/2))
rovcel3_lvt.add(gdstk.Reference(nfet_5, (-11.63,0.16), rotation=pi, x_reflection=True))
rovcel3_lvt.add(gdstk.Reference(nfet_5, (-10.51,0.16), rotation=pi, x_reflection=True))
rovcel3_lvt.add(gdstk.Reference(vias_gen_28_1, (-9.975,0.345), rotation=pi/2))
rovcel3_lvt.add(gdstk.Reference(nfet_5, (-13.97,0.16), rotation=pi, x_reflection=True))
rovcel3_lvt.add(gdstk.Reference(nfet_5, (-12.85,0.16), rotation=pi, x_reflection=True))
rovcel3_lvt.add(gdstk.Reference(vias_gen_28_1, (-12.315,0.345), rotation=pi/2))
rovcel3_lvt.add(gdstk.Reference(nfet_5, (-16.31,0.16), rotation=pi, x_reflection=True))
rovcel3_lvt.add(gdstk.Reference(vias_gen_27_1, (-16.995,0.345), rotation=pi/2))
rovcel3_lvt.add(gdstk.Reference(vias_gen_33_1, (-17.115,3.37)))
rovcel3_lvt.add(gdstk.Reference(vias_gen_33_1, (-17.115,3.37)))
rovcel3_lvt.add(gdstk.Reference(vias_gen_33_1, (-5.41,3.37)))
rovcel3_lvt.add(gdstk.Reference(vias_gen_33_1, (1.61,3.37)))
rovcel3_lvt.add(gdstk.Reference(vias_gen_33_1, (2.73,3.37)))
rovcel3_lvt.add(gdstk.Reference(vias_gen_33_1, (3.95,3.37)))
rovcel3_lvt.add(gdstk.Reference(vias_gen_33_1, (5.07,3.37)))
rovcel3_lvt.add(gdstk.Reference(pfet_2_1, (-5.03,2.49)))
rovcel3_lvt.add(gdstk.Reference(vias_gen_10_1, (-4.065,2.565), rotation=pi/2))
rovcel3_lvt.add(gdstk.Reference(vias_gen_2_1, (-4.395,0.6)))
rovcel3_lvt.add(gdstk.Reference(vias_gen_27_1, (6.06,0.345), rotation=pi/2))
rovcel3_lvt.add(gdstk.Reference(nfet_5, (4.755,0.16), rotation=pi, x_reflection=True))
rovcel3_lvt.add(gdstk.Reference(nfet_5, (5.875,0.16), rotation=pi, x_reflection=True))
rovcel3_lvt.add(gdstk.Reference(nfet_5, (2.415,0.16), rotation=pi, x_reflection=True))
rovcel3_lvt.add(gdstk.Reference(nfet_5, (3.535,0.16), rotation=pi, x_reflection=True))
rovcel3_lvt.add(gdstk.Reference(vias_gen_28_1, (4.07,0.345), rotation=pi/2))
rovcel3_lvt.add(gdstk.Reference(vias_gen_7_1, (-3.955,-3.4), rotation=pi/2))
rovcel3_lvt.add(gdstk.Reference(vias_gen_6_1, (-4.86,-0.34)))
rovcel3_lvt.add(gdstk.Reference(vias_gen_28_1, (-2.95,0.345), rotation=pi/2))
rovcel3_lvt.add(gdstk.Reference(nfet_5, (-3.485,0.16), rotation=pi, x_reflection=True))
rovcel3_lvt.add(gdstk.Reference(pfet_2_1, (-4.38,2.49)))
rovcel3_lvt.add(gdstk.Reference(vias_gen_28_1, (-0.61,0.345), rotation=pi/2))
rovcel3_lvt.add(gdstk.Reference(nfet_5, (-1.145,0.16), rotation=pi, x_reflection=True))
rovcel3_lvt.add(gdstk.Reference(nfet_5, (-2.265,0.16), rotation=pi, x_reflection=True))
rovcel3_lvt.add(gdstk.Reference(vias_gen_28_1, (1.73,0.345), rotation=pi/2))
rovcel3_lvt.add(gdstk.Reference(nfet_5, (1.195,0.16), rotation=pi, x_reflection=True))
rovcel3_lvt.add(gdstk.Reference(nfet_5, (0.075,0.16), rotation=pi, x_reflection=True))
rovcel3_lvt.add(gdstk.Reference(vias_gen_6_1, (-3.945,-0.34)))
rovcel3_lvt.add(gdstk.Reference(nfet_2_1, (-4.205,-3.585), rotation=pi, x_reflection=True))
rovcel3_lvt.add(gdstk.Reference(vias_gen_33_1, (-4.29,3.37)))
rovcel3_lvt.add(gdstk.Reference(vias_gen_32, (10.35,1.72), rotation=pi/2))
rovcel3_lvt.add(gdstk.Reference(vias_gen_37_1, (7.57,1.58)))
rovcel3_lvt.add(gdstk.Reference(vias_gen_39, (10.95,0.025)))
rovcel3_lvt.add(gdstk.Reference(vias_gen_33_1, (-3.07,3.37)))
rovcel3_lvt.add(gdstk.Reference(vias_gen_33_1, (-1.95,3.37)))
rovcel3_lvt.add(gdstk.Reference(vias_gen_33_1, (-0.73,3.37)))
rovcel3_lvt.add(gdstk.Reference(vias_gen_33_1, (0.39,3.37)))
rovcel3_lvt.add(gdstk.Reference(vias_gen_37_1, (6.785,2.9)))
rovcel3_lvt.add(gdstk.Reference(vias_gen_36_1, (8.25,2.68)))
rovcel3_lvt.add(gdstk.Reference(nfet_5, (-4.605,0.16), rotation=pi, x_reflection=True))
rovcel3_lvt.add(gdstk.Reference(nfet_2_1, (-5.225,-3.585), rotation=pi, x_reflection=True))
rovcel3_lvt.add(gdstk.Label('GND', (12.39,-0.565), layer=69, texttype=5))
rovcel3_lvt.add(gdstk.Label('VDD', (-23.69,11.74), layer=69, texttype=5))
rovcel3_lvt.add(gdstk.Label('VDD', (9.62,11.76), layer=69, texttype=5))
rovcel3_lvt.add(gdstk.Label('VDD', (12.39,11.76), layer=69, texttype=5))
rovcel3_lvt.add(gdstk.Label('VDD', (8.55,11.74), layer=69, texttype=5))
rovcel3_lvt.add(gdstk.Label('DUT_Gate', (7.745,0.19), layer=70, texttype=5))
rovcel3_lvt.add(gdstk.Label('RON', (-18.795,0.23), layer=70, texttype=5))
rovcel3_lvt.add(gdstk.Label('RO', (6.975,0.195), layer=70, texttype=5))

lib.write_gds('rovcel3_LVT.gds')
